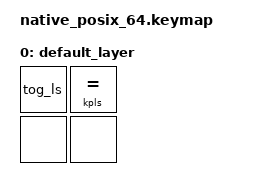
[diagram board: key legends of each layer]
#include <dt-bindings/zmk/keys.h>
#include <behaviors.dtsi>
#include <dt-bindings/zmk/kscan_mock.h>
#include <layout_shift.dtsi>

&tog_ls { layout-maps = <&layout_shift_map_us_to_jis>; };

&kscan {
    events = <
        ZMK_MOCK_PRESS(0,0,10)
        ZMK_MOCK_RELEASE(0,0,10)
        ZMK_MOCK_PRESS(0,1,10)
        ZMK_MOCK_RELEASE(0,1,10)
        ZMK_MOCK_PRESS(0,0,10)
        ZMK_MOCK_RELEASE(0,0,10)
        ZMK_MOCK_PRESS(0,1,10)
        ZMK_MOCK_RELEASE(0,1,10)
    >;
};

/ {
    keymap {
        compatible = "zmk,keymap";

        default_layer {
            bindings = <
                &tog_ls &kpls EQUAL
                &none &none
            >;
        };
    };
};
